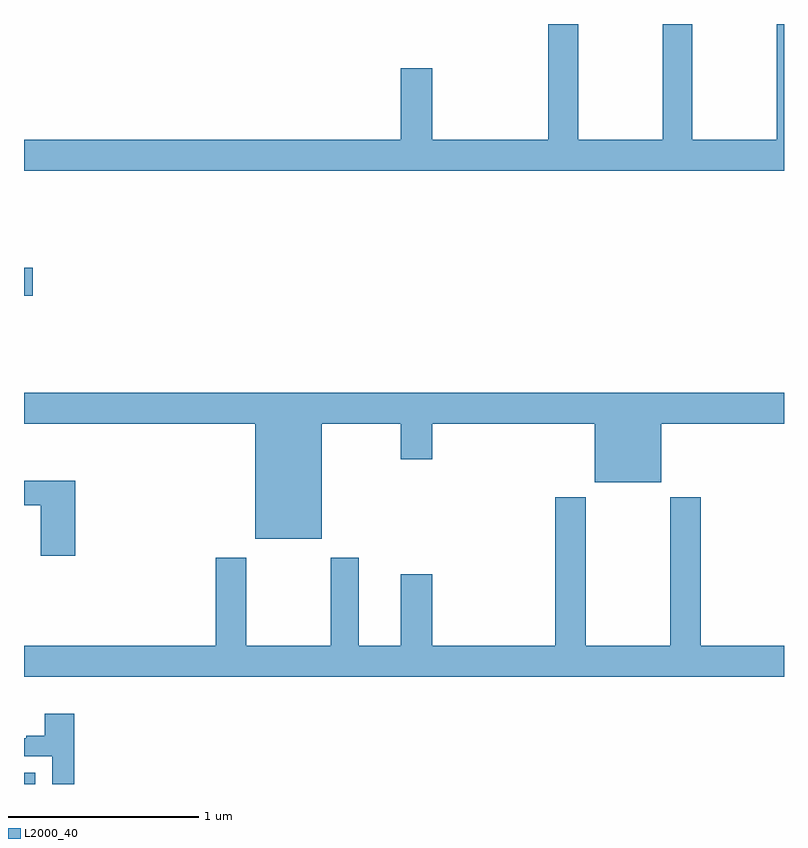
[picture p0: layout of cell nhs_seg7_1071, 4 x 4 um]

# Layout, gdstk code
import gdstk
lib = gdstk.Library(unit=1e-6, precision=1e-09)
def R(c, l, rs):  # rectangles x0, y0, x1, y1
    for r in rs: c.add(gdstk.rectangle(r[:2], r[2:], *l))
def P(c, l, *ps):  # polygons
    for p in ps: c.add(gdstk.Polygon(p, *l))
L2000_40 = (2000, 40)

nhs_seg7_1071 = lib.new_cell('nhs_seg7_1071')
R(nhs_seg7_1071, L2000_40, [(187,1052,187.06,1052.06), (187,1054.571,187.045,1054.718)])
P(nhs_seg7_1071, L2000_40, [(191,1056),(190.963,1056),(190.963,1055.392),(190.518,1055.392),(190.518,1056),(190.363,1056),(190.363,1055.392),(189.918,1055.392),(189.918,1056),(189.758,1056),(189.758,1055.392),(189.148,1055.392),(189.148,1055.767),(188.984,1055.767),(188.984,1055.392),(187,1055.392),(187,1055.228),(191,1055.228)],
  [(188.566,1053.896),(188.984,1053.896),(188.984,1053.708),(189.148,1053.708),(189.148,1053.896),(190.004,1053.896),(190.004,1053.587),(190.354,1053.587),(190.354,1053.896),(191,1053.896),(191,1054.06),(187,1054.06),(187,1053.896),(188.216,1053.896),(188.216,1053.29),(188.566,1053.29)],
  [(187.271,1053.595),(187,1053.595),(187,1053.466),(187.088,1053.466),(187.088,1053.201),(187.271,1053.201)],
  [(191,1052.728),(190.562,1052.728),(190.562,1053.508),(190.402,1053.508),(190.402,1052.728),(189.957,1052.728),(189.957,1053.508),(189.797,1053.508),(189.797,1052.728),(189.148,1052.728),(189.148,1053.103),(188.984,1053.103),(188.984,1052.728),(188.761,1052.728),(188.761,1053.19),(188.614,1053.19),(188.614,1052.728),(188.169,1052.728),(188.169,1053.19),(188.009,1053.19),(188.009,1052.728),(187,1052.728),(187,1052.564),(191,1052.564)],
  [(187.265,1052.371),(187.109,1052.371),(187.109,1052.254),(187.013,1052.254),(187.013,1052.241),(187,1052.241),(187,1052.145),(187.149,1052.145),(187.149,1052),(187.265,1052)])

lib.write_gds('nhs_seg7_1071.gds')
